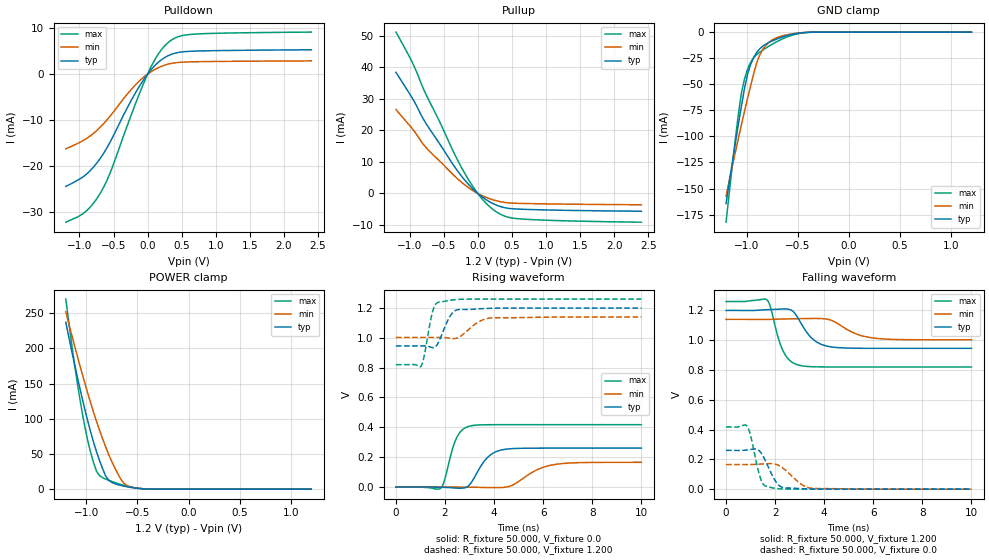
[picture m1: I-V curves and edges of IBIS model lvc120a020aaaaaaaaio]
| [Disclaimer] This IBIS source code is intended as a design reference
| which illustrates how the Lattice Semiconductor device operates.
| It is the user's responsibility to verify their design for
| consistency and functionality through the use of formal
| verification methods.  Lattice Semiconductor provides no warranty
| regarding the use or functionality of this data.
| [Copyright] Copyright 2015 by Lattice Semiconductor Corporation
| From lifmdf.ibs, LIFMDF, Lattice Semiconductor Corp.
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|   Model lvc120a020aaaaaaaaio
[Model] lvc120a020aaaaaaaaio
Model_type I/O
Polarity   Non-Inverting
Enable   Active-Low
Vinl =  0.420V
Vinh =  0.780V
Vmeas =  0.600V
Cref =  0.0F
Rref =  1.000M
Vref =  0.0V
C_comp   5.000pF   4.000pF   5.500pF
[Temperature Range]   25.000   0.125k   -40.000
[Voltage Range]   1.200V   1.140V   1.260V
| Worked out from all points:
|   slope of the pulldown table from 0 to 0.18 V, typ, clamps not added: 63.3 ohm
|   slope of the pullup table from 0 to 0.18 V, typ, clamps not added: 65.9 ohm
|   GND clamp passes 1 mA (typ) near -0.48 V on its own axis
|   POWER clamp passes 1 mA (typ) near -0.49 V on its own axis
|   rising waveform, R_fixture 50.000, V_fixture 0.0: 20-80 % time 645ps typ, 1.04ns min, 445ps max; typ from 0 V to 0.26 V
|   rising waveform, R_fixture 50.000, V_fixture 1.200: 20-80 % time 413ps typ, 647ps min, 302ps max; typ from 0.946 V to 1.2 V
|   falling waveform, R_fixture 50.000, V_fixture 1.200: 20-80 % time 688ps typ, 991ps min, 500ps max; typ from 1.2 V to 0.946 V
|   falling waveform, R_fixture 50.000, V_fixture 0.0: 20-80 % time 470ps typ, 678ps min, 346ps max; typ from 0.26 V to 0 V
[Pulldown]
|Voltage   I(typ)   I(min)   I(max)
-1.2V     -24.43mA   -16.24mA   -32.23mA
-920mV    -22.07mA   -14.25mA   -30.06mA
-800mV    -20.33mA   -12.97mA   -28.22mA
-680mV    -18.04mA   -11.33mA   -25.58mA
-560mV    -15.08mA   -9.331mA   -21.88mA
-240mV    -5.719mA   -3.347mA   -8.876mA
0V        -2.383fA   10.6fA     -4.549fA
160mV     2.605mA    1.409mA    4.427mA
320mV     4.133mA    2.229mA    7.092mA
480mV     4.774mA    2.565mA    8.275mA
680mV     4.991mA    2.68mA     8.687mA
2.4V      5.291mA    2.878mA    9.14mA
[Pullup]
|Voltage   I(typ)   I(min)   I(max)
-1.2V     38.41mA    26.62mA    51.16mA
-960mV    30.22mA    20.53mA    41.55mA
-760mV    22.22mA    14.59mA    31.44mA
-360mV    9.102mA    5.929mA    13.38mA
-240mV    5.535mA    3.566mA    8.284mA
-120mV    2.498mA    1.585mA    3.821mA
0V        -28.4fA    -29fA      0A
120mV     -1.956mA   -1.223mA   -3.074mA
240mV     -3.395mA   -2.134mA   -5.356mA
400mV     -4.544mA   -2.875mA   -7.236mA
600mV     -4.976mA   -3.156mA   -8.04mA
2.4V      -5.654mA   -3.597mA   -9.127mA
[GND_clamp]
|Voltage   I(typ)   I(min)   I(max)
-1.2V     -164.5mA   -157.3mA   -182.3mA
-1.11V    -107mA     -115.7mA   -103.5mA
-1.05V    -71.11mA   -89.05mA   -58.53mA
-1.02V    -54.23mA   -76.19mA   -45.11mA
-990mV    -40.37mA   -63.68mA   -35.65mA
-960mV    -31.12mA   -51.57mA   -29.01mA
-900mV    -19.51mA   -29.36mA   -21.51mA
-870mV    -15.95mA   -21.89mA   -19.19mA
-810mV    -11.49mA   -12.65mA   -15.26mA
-750mV    -8.556mA   -7.618mA   -11.71mA
-480mV    -930.3uA   -744.4uA   -1.274mA
1.2V      0A         0A         0A
[POWER_clamp]
|Voltage   I(typ)   I(min)   I(max)
-1.2V     237mA      251.9mA    270mA
-1.11V    174.5mA    201.4mA    172.7mA
-1.02V    117mA      153.7mA    93.32mA
-990mV    99.45mA    138.6mA    72.01mA
-930mV    67.46mA    109.9mA    38.25mA
-900mV    53.33mA    96.45mA    25.43mA
-870mV    40.57mA    83.67mA    19.3mA
-810mV    18.72mA    59.99mA    14.34mA
-780mV    12.67mA    49.18mA    12.59mA
-660mV    5.246mA    13.71mA    6.607mA
-570mV    2.605mA    3.346mA    3.25mA
1.2V      0A         0A         0A
[Ramp]
| variable   typ   min   max
dV/dt_r   0.156/0.663n   99.250m/1.038n   0.251/0.449n
dV/dt_f   0.153/0.704n   82.378m/0.991n   0.264/0.501n
R_load = 50.000
[Rising Waveform]
R_fixture= 50.000
V_fixture= 0.0
V_fixture_min= 0.0
V_fixture_max= 0.0
|time   V(typ)   V(min)   V(max)
0s        0V         0V         0V
1.837ns   -2.233mV   48.47uV    -6.175mV
1.978ns   -2.673mV   133.1uV    44.75mV
2.448ns   -7.473mV   -304uV     320.6mV
2.678ns   -8.199mV   -1.148mV   379mV
3.018ns   18.57mV    -1.655mV   408.6mV
3.711ns   194.4mV    -3.759mV   417.3mV
4.321ns   248.9mV    -3.484mV   417.8mV
6.362ns   260.4mV    147.5mV    417.8mV
10ns      260.4mV    165.4mV    417.8mV
[Rising Waveform]
R_fixture= 50.000
V_fixture= 1.200
V_fixture_min= 1.140
V_fixture_max= 1.260
|time   V(typ)   V(min)   V(max)
0s        945.6mV    1.003V     820.3mV
1.028ns   946mV      1.003V     810.6mV
1.137ns   946.3mV    1.003V     867.6mV
1.488ns   934.5mV    1.003V     1.172V
1.751ns   975.9mV    1.003V     1.24V
2.221ns   1.15V      997.3mV    1.252V
2.541ns   1.189V     1.001V     1.258V
3.362ns   1.194V     1.106V     1.26V
3.862ns   1.198V     1.133V     1.26V
10ns      1.2V       1.14V      1.26V
[Falling Waveform]
R_fixture= 50.000
V_fixture= 1.200
V_fixture_min= 1.140
V_fixture_max= 1.260
|time   V(typ)   V(min)   V(max)
0s        1.2V       1.14V      1.26V
1.668ns   1.205V     1.14V      1.271V
1.808ns   1.206V     1.14V      1.223V
2.328ns   1.21V      1.143V     927mV
2.69ns    1.198V     1.144V     852.5mV
2.949ns   1.144V     1.145V     833.5mV
3.55ns    1.005V     1.146V     821.9mV
4.242ns   956.4mV    1.136V     820.4mV
5.86ns    945.7mV    1.018V     820.3mV
10ns      945.6mV    1.003V     820.3mV
[Falling Waveform]
R_fixture= 50.000
V_fixture= 0.0
V_fixture_min= 0.0
V_fixture_max= 0.0
|time   V(typ)   V(min)   V(max)
0s        260.4mV    165.4mV    417.8mV
858ps     263.3mV    165.1mV    422.7mV
1.008ns   266.7mV    165.5mV    354.4mV
1.399ns   249.7mV    168.2mV    75.17mV
1.658ns   172mV      170.6mV    18.11mV
2.061ns   42.8mV     165.4mV    4.148mV
2.37ns    9.658mV    134.8mV    1.251mV
3.071ns   3.631mV    32.44mV    82.99uV
3.51ns    1.247mV    5.805mV    14.74uV
10ns      0V         0V         0V
